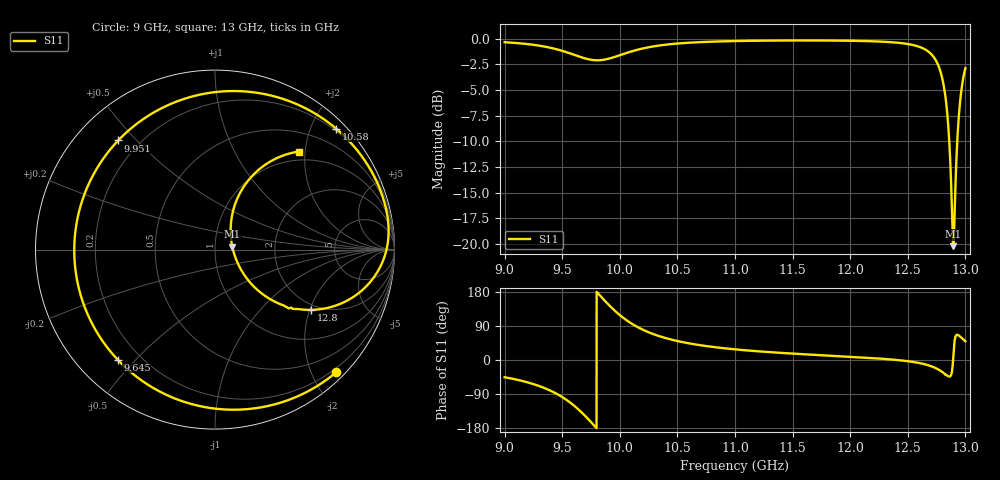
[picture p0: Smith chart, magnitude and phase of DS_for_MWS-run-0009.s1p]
! TOUCHSTONE file generated by CST DESIGN STUDIO
! Date and time: Tue Feb  4 17:38:01 2025
! Project name: C:\Work\MatlabApps\UnitCellOptimizationMatlab\CST\unitcell.cst
! Tree item: Tasks\Sweep1\SPara1\S-Parameters
! Header version: 2024
! Port assignment regex: !\s*Touchstone port\s*([0-9]+)\s*=\s*(CST MWS port|CST DES external port|CST DES block port)\s*(.+)\s* \(\"(.*)\"\)(\s*mode\s*([0-9]+))?.*
! Touchstone port assignment:
! Touchstone port 1 = CST DES external port 1 ("")
# GHz S MA R 50
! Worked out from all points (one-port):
!   4001 points, 9 GHz to 13 GHz, reference 50 ohm
!   lowest |S11| = -20.2 dB at 12.89 GHz (marker M1), VSWR 1.22, Z = 60.6 + j1.94 ohm
!   |S11| at or under -10 dB: 12.86 GHz to 12.93 GHz (69.5 MHz wide, 0.539 % of centre)
!   S11 on the Smith chart (normalised r, x): 9 GHz: 0.13, -2.38; 9.645 GHz: 0.12, -0.44; 9.951 GHz: 0.12, +0.44; 10.58 GHz: 0.16, +2.41; 12.8 GHz: 1.83, -2.05; 13 GHz: 0.83, +1.87
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9  0.9606 -45.4
9.273  0.9293 -65.9
9.5  0.872 -97.8
9.575  0.8449 -113.6
9.645  0.8186 -131.6
9.727  0.7935 -156.3
9.798  0.7842 -179.8
9.869  0.7904 156.5
9.951  0.8128 131.6
10  0.8302 118.5
10.107  0.8682 95.2
10.242  0.9059 74.2
10.5  0.9464 50.1
10.582  0.9538 45.0
11  0.9732 28.1
11.5  0.9795 16.9
12  0.9764 8.6
12.5  0.9414 -3.2
12.691  0.8535 -15.1
12.751  0.7696 -22.7
12.801  0.6332 -32.0
12.845  0.4165 -41.8
12.883  0.1482 -31.1
12.895  0.0974 9.4
12.908  0.1505 54.5
12.931  0.3289 66.4
12.949  0.4603 63.2
13  0.7184 49.5
